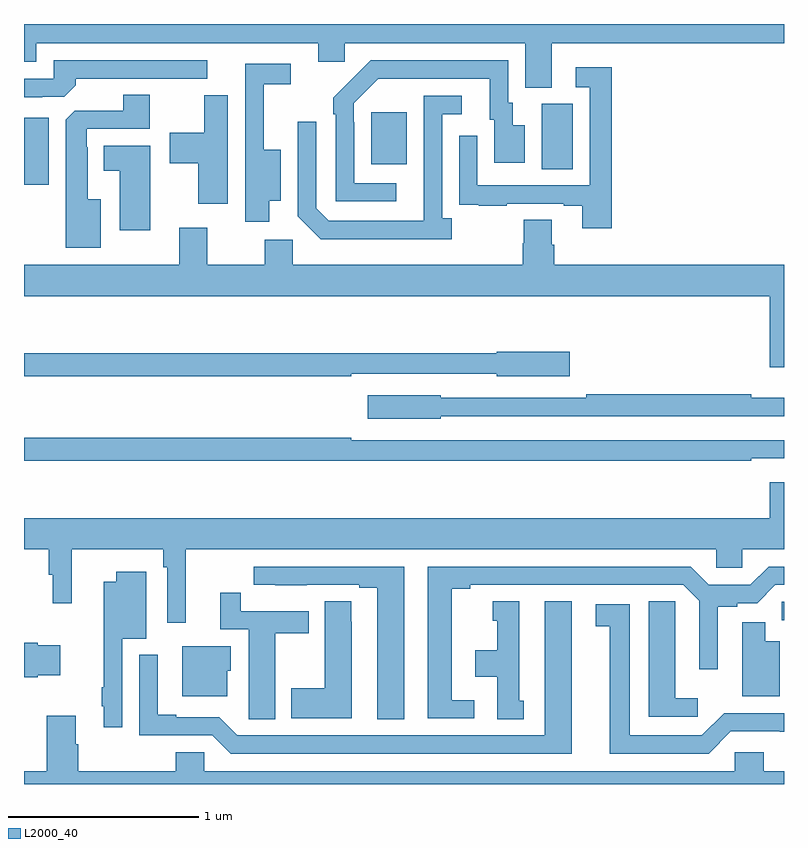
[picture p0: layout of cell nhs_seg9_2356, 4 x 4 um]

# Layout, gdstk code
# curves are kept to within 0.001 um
import gdstk
lib = gdstk.Library(unit=1e-6, precision=1e-09)
def R(c, l, rs):  # rectangles x0, y0, x1, y1
    for r in rs: c.add(gdstk.rectangle(r[:2], r[2:], *l))
def P(c, l, *ps):  # polygons
    for p in ps: c.add(gdstk.Polygon(p, *l))
L2000_40 = (2000, 40)

nhs_seg9_2356 = lib.new_cell('nhs_seg9_2356')
R(nhs_seg9_2356, L2000_40, [(248.988,1213.362,249,1213.458), (245,1215.653,245.131,1216.006), (247.724,1215.736,247.888,1216.08), (246.827,1215.761,247.015,1216.036)])
P(nhs_seg9_2356, L2000_40, [(249,1216.5),(245,1216.5),(245,1216.301),(245.065,1216.301),(245.065,1216.4),(246.548,1216.4),(246.548,1216.302),(246.687,1216.302),(246.687,1216.4),(247.637,1216.4),(247.637,1216.165),(247.777,1216.165),(247.777,1216.4),(249,1216.4)],
  [(245.096,1216.116),(245.211,1216.116),(245.273,1216.178),(245.273,1216.212),(245.965,1216.212),(245.965,1216.308),(245.157,1216.308),(245.157,1216.212),(245,1216.212),(245,1216.115),(245.096,1216.115)],
  [(246.958,1215.663),(246.738,1215.663),(246.738,1215.983),(246.735,1215.983),(246.735,1216.083),(246.864,1216.212),(247.451,1216.212),(247.451,1215.996),(247.475,1215.996),(247.475,1215.771),(247.636,1215.771),(247.636,1215.967),(247.573,1215.967),(247.573,1216.086),(247.548,1216.086),(247.548,1216.308),(246.824,1216.308),(246.627,1216.113),(246.627,1216.025),(246.642,1216.025),(246.642,1215.567),(246.958,1215.567)],
  [(246.292,1215.569),(246.352,1215.569),(246.352,1215.838),(246.263,1215.838),(246.263,1216.182),(246.403,1216.182),(246.403,1216.29),(246.165,1216.29),(246.165,1215.458),(246.292,1215.458)],
  [(248.093,1216.273),(247.905,1216.273),(247.905,1216.167),(247.977,1216.167),(247.977,1215.651),(247.386,1215.651),(247.386,1215.913),(247.29,1215.913),(247.29,1215.658),(247.291,1215.658),(247.291,1215.549),(247.393,1215.549),(247.393,1215.543),(247.541,1215.543),(247.541,1215.555),(247.841,1215.555),(247.841,1215.543),(247.937,1215.543),(247.937,1215.426),(248.093,1215.426)],
  [(245.404,1215.577),(245.335,1215.577),(245.335,1215.851),(245.331,1215.851),(245.331,1215.948),(245.662,1215.948),(245.662,1216.127),(245.522,1216.127),(245.522,1216.044),(245.268,1216.044),(245.219,1215.995),(245.219,1215.323),(245.404,1215.323)],
  [(246.073,1216.126),(245.948,1216.126),(245.948,1215.928),(245.766,1215.928),(245.766,1215.766),(245.918,1215.766),(245.918,1215.555),(246.073,1215.555)],
  [(247.252,1215.478),(247.2,1215.478),(247.2,1216.026),(247.303,1216.026),(247.303,1216.122),(247.104,1216.122),(247.103,1215.465),(246.603,1215.465),(246.537,1215.531),(246.537,1215.985),(246.441,1215.985),(246.441,1215.489),(246.562,1215.368),(247.252,1215.368)],
  [(245.665,1215.859),(245.42,1215.859),(245.42,1215.728),(245.504,1215.728),(245.504,1215.414),(245.665,1215.414)],
  [(249,1215.232),(247.79,1215.232),(247.79,1215.338),(247.777,1215.338),(247.777,1215.47),(247.63,1215.47),(247.63,1215.345),(247.625,1215.345),(247.625,1215.232),(246.414,1215.232),(246.414,1215.364),(246.268,1215.364),(246.268,1215.232),(245.964,1215.232),(245.964,1215.427),(245.816,1215.427),(245.816,1215.232),(245,1215.232),(245,1215.068),(248.924,1215.068),(248.924,1214.694),(249,1214.694)],
  [(247.873,1214.775),(247.488,1214.775),(247.488,1214.767),(245,1214.767),(245,1214.646),(246.722,1214.646),(246.722,1214.658),(247.488,1214.658),(247.488,1214.645),(247.873,1214.645)],
  [(247.194,1214.436),(249,1214.436),(249,1214.533),(248.828,1214.533),(248.828,1214.552),(247.96,1214.552),(247.96,1214.532),(247.194,1214.532),(247.194,1214.545),(246.81,1214.545),(246.81,1214.423),(247.194,1214.423)],
  [(248.828,1214.214),(249,1214.214),(249,1214.31),(246.722,1214.31),(246.722,1214.323),(245,1214.323),(245,1214.202),(248.828,1214.202)],
  [(245.852,1213.736),(248.643,1213.736),(248.643,1213.638),(248.781,1213.638),(248.781,1213.736),(249,1213.736),(249,1214.089),(248.924,1214.089),(248.924,1213.9),(245,1213.9),(245,1213.736),(245.131,1213.736),(245.131,1213.602),(245.15,1213.602),(245.15,1213.452),(245.25,1213.452),(245.25,1213.736),(245.734,1213.736),(245.734,1213.64),(245.754,1213.64),(245.754,1213.35),(245.852,1213.35)],
  [(247.369,1212.942),(247.252,1212.942),(247.252,1213.528),(247.348,1213.528),(247.348,1213.548),(248.469,1213.548),(248.553,1213.464),(248.553,1213.104),(248.65,1213.104),(248.65,1213.432),(248.754,1213.432),(248.754,1213.452),(248.859,1213.452),(248.955,1213.548),(249,1213.548),(249,1213.644),(248.919,1213.644),(248.823,1213.548),(248.605,1213.548),(248.509,1213.644),(247.124,1213.644),(247.124,1212.846),(247.369,1212.846)],
  [(247,1213.644),(246.21,1213.644),(246.21,1213.548),(246.322,1213.548),(246.322,1213.547),(246.488,1213.547),(246.488,1213.548),(246.764,1213.548),(246.764,1213.533),(246.86,1213.533),(246.86,1212.841),(247,1212.841)],
  [(245.517,1213.265),(245.644,1213.265),(245.644,1213.618),(245.486,1213.618),(245.486,1213.564),(245.42,1213.564),(245.42,1213.269),(245.419,1213.269),(245.419,1213.01),(245.409,1213.01),(245.409,1212.91),(245.42,1212.91),(245.42,1212.798),(245.517,1212.798)],
  [(246.322,1213.294),(246.499,1213.294),(246.499,1213.41),(246.14,1213.41),(246.14,1213.507),(246.032,1213.507),(246.032,1213.314),(246.182,1213.314),(246.182,1212.952),(246.183,1212.952),(246.183,1212.841),(246.322,1212.841)],
  [(246.724,1213.355),(246.723,1213.355),(246.723,1213.463),(246.584,1213.463),(246.584,1213.005),(246.407,1213.005),(246.407,1212.845),(246.724,1212.845)],
  [(248.545,1212.952),(248.428,1212.952),(248.428,1213.355),(248.427,1213.355),(248.427,1213.463),(248.288,1213.463),(248.288,1212.855),(248.545,1212.855)],
  [(247.63,1212.939),(247.606,1212.939),(247.606,1213.462),(247.466,1213.462),(247.466,1213.359),(247.49,1213.359),(247.49,1213.204),(247.376,1213.204),(247.376,1213.064),(247.49,1213.064),(247.49,1212.841),(247.63,1212.841)],
  [(247.882,1213.462),(247.742,1213.462),(247.742,1212.756),(246.123,1212.756),(246.027,1212.852),(245.8,1212.852),(245.8,1212.865),(245.704,1212.865),(245.704,1213.18),(245.607,1213.18),(245.607,1212.756),(245.991,1212.756),(246.087,1212.66),(247.882,1212.66)],
  [(248.721,1212.777),(249,1212.776),(249,1212.873),(248.685,1212.873),(248.568,1212.756),(248.188,1212.756),(248.188,1213.446),(248.01,1213.446),(248.01,1213.33),(248.084,1213.33),(248.084,1212.66),(248.604,1212.66)],
  [(248.977,1213.252),(248.902,1213.252),(248.902,1213.351),(248.78,1213.351),(248.78,1212.962),(248.977,1212.962)],
  [(245.073,1213.073),(245.191,1213.073),(245.191,1213.231),(245.073,1213.231),(245.073,1213.244),(245,1213.244),(245,1213.061),(245.073,1213.061)],
  [(246.07,1213.095),(246.088,1213.095),(246.088,1213.225),(245.834,1213.225),(245.834,1212.962),(246.07,1212.962)],
  [(249,1212.568),(248.894,1212.568),(248.894,1212.666),(248.742,1212.666),(248.742,1212.568),(245.949,1212.568),(245.949,1212.666),(245.798,1212.666),(245.798,1212.568),(245.285,1212.568),(245.285,1212.71),(245.272,1212.71),(245.272,1212.859),(245.12,1212.859),(245.12,1212.568),(245,1212.568),(245,1212.5),(249,1212.5)])

lib.write_gds('nhs_seg9_2356.gds')
